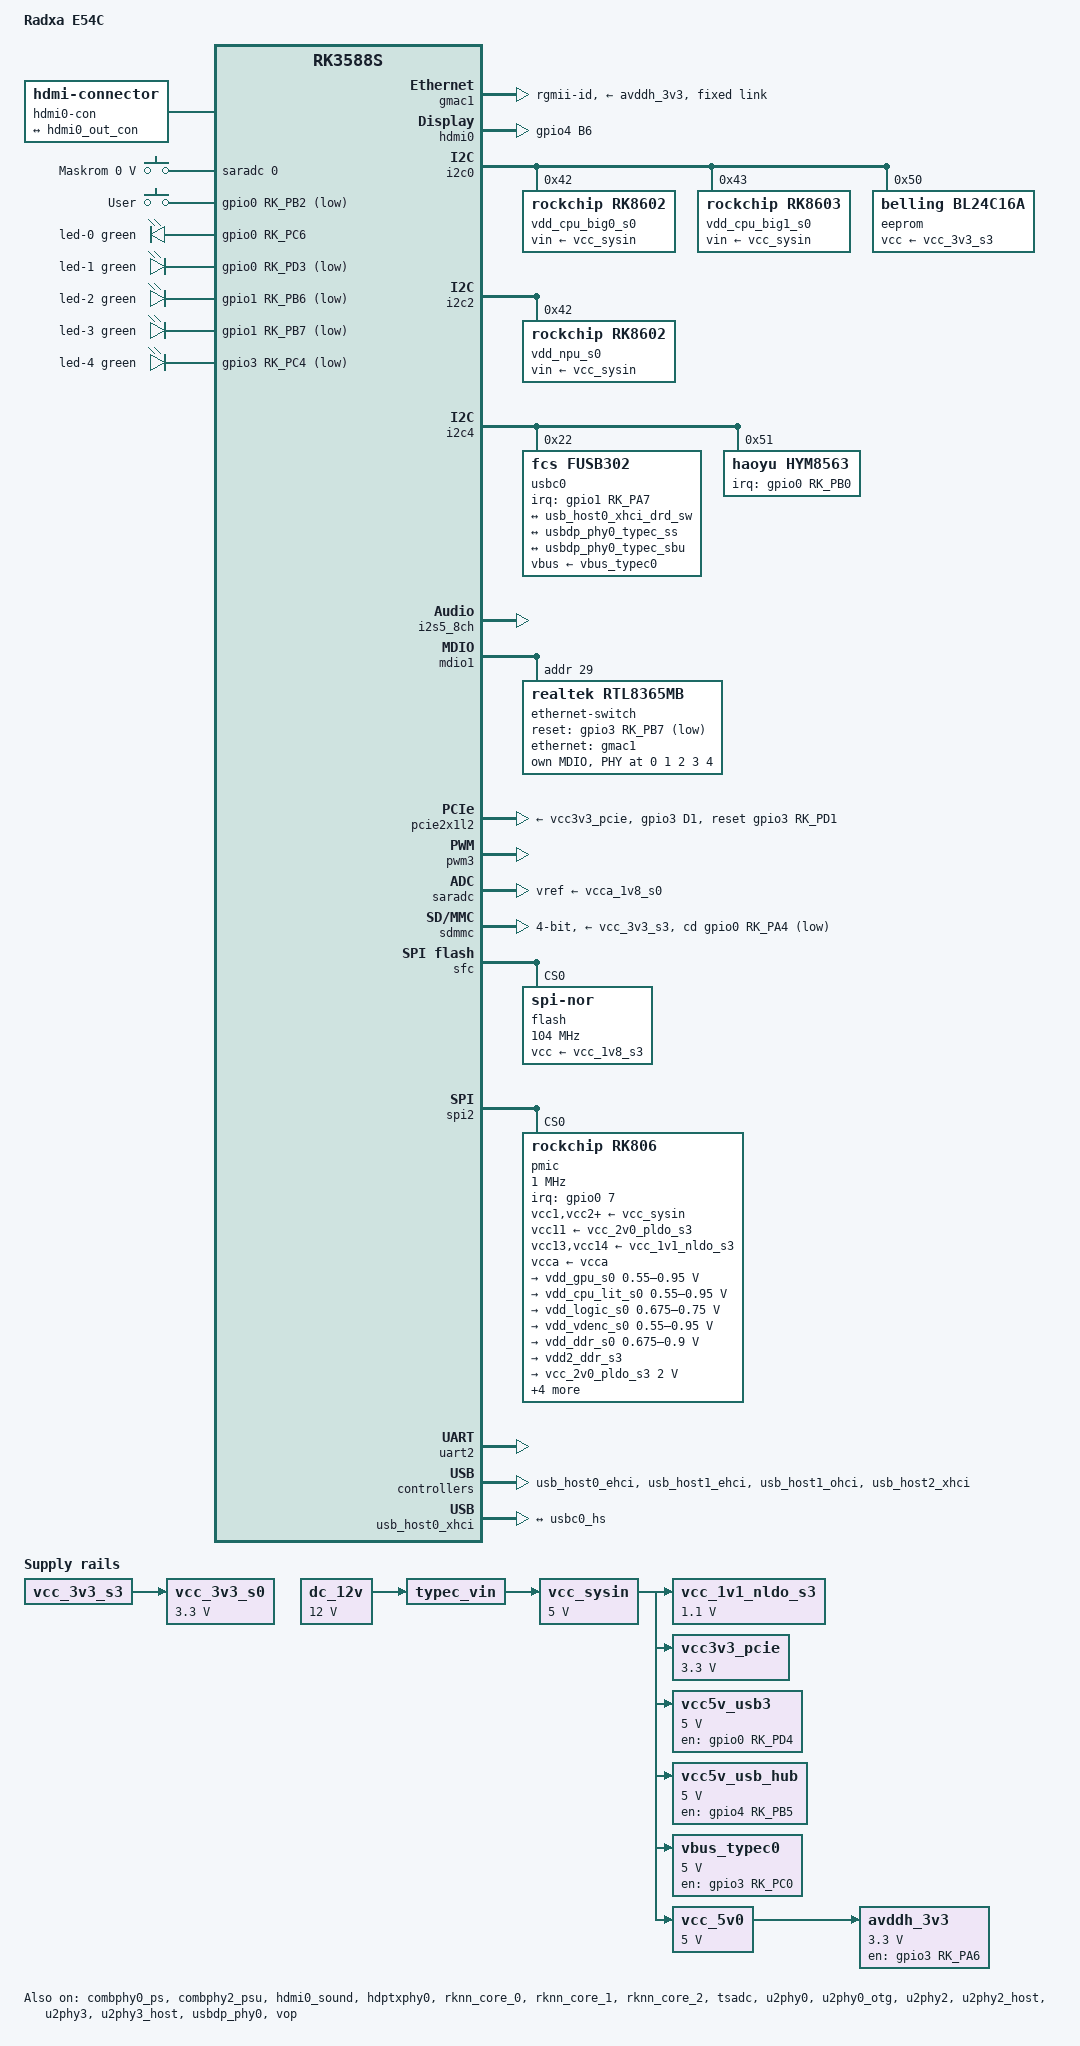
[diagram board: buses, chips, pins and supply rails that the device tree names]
// SPDX-License-Identifier: (GPL-2.0+ OR MIT)

/dts-v1/;

#include <dt-bindings/gpio/gpio.h>
#include <dt-bindings/input/input.h>
#include <dt-bindings/leds/common.h>
#include <dt-bindings/pinctrl/rockchip.h>
#include <dt-bindings/soc/rockchip,vop2.h>
#include <dt-bindings/usb/pd.h>
#include "rk3588s.dtsi"

/ {
	model = "Radxa E54C";
	compatible = "radxa,e54c", "rockchip,rk3582", "rockchip,rk3588s";

	aliases {
		ethernet0 = &gmac1;
		mmc0 = &sdhci;
		mmc1 = &sdmmc;
	};

	chosen {
		stdout-path = "serial2:1500000n8";
	};

	hdmi0-con {
		compatible = "hdmi-connector";
		type = "a";

		port {
			hdmi0_con_in: endpoint {
				remote-endpoint = <&hdmi0_out_con>;
			};
		};
	};

	keys-0 {
		compatible = "adc-keys";
		io-channels = <&saradc 0>;
		io-channel-names = "buttons";
		keyup-threshold-microvolt = <1800000>;
		poll-interval = <100>;

		button-0 {
			label = "Maskrom";
			linux,code = <KEY_VENDOR>;
			press-threshold-microvolt = <0>;
		};
	};

	keys-1 {
		compatible = "gpio-keys";
		pinctrl-names = "default";
		pinctrl-0 = <&user_key>;

		button-1 {
			label = "User";
			linux,code = <BTN_0>;
			gpios = <&gpio0 RK_PB2 GPIO_ACTIVE_LOW>;
			wakeup-source;
		};
	};

	leds {
		compatible = "gpio-leds";

		led-0 {
			color = <LED_COLOR_ID_GREEN>;
			function = LED_FUNCTION_STATUS;
			gpios = <&gpio0 RK_PC6 GPIO_ACTIVE_HIGH>;
			linux,default-trigger = "heartbeat";
			pinctrl-names = "default";
			pinctrl-0 = <&sys_led>;
		};

		led-1 {
			color = <LED_COLOR_ID_GREEN>;
			function = LED_FUNCTION_LAN;
			function-enumerator = <1>;
			gpios = <&gpio0 RK_PD3 GPIO_ACTIVE_LOW>;
			linux,default-trigger = "netdev";
			pinctrl-names = "default";
			pinctrl-0 = <&lan1_led>;
		};

		led-2 {
			color = <LED_COLOR_ID_GREEN>;
			function = LED_FUNCTION_LAN;
			function-enumerator = <2>;
			gpios = <&gpio1 RK_PB6 GPIO_ACTIVE_LOW>;
			linux,default-trigger = "netdev";
			pinctrl-names = "default";
			pinctrl-0 = <&lan2_led>;
		};

		led-3 {
			color = <LED_COLOR_ID_GREEN>;
			function = LED_FUNCTION_LAN;
			function-enumerator = <3>;
			gpios = <&gpio1 RK_PB7 GPIO_ACTIVE_LOW>;
			linux,default-trigger = "netdev";
			pinctrl-names = "default";
			pinctrl-0 = <&lan3_led>;
		};

		led-4 {
			color = <LED_COLOR_ID_GREEN>;
			function = LED_FUNCTION_WAN;
			gpios = <&gpio3 RK_PC4 GPIO_ACTIVE_LOW>;
			linux,default-trigger = "netdev";
			pinctrl-names = "default";
			pinctrl-0 = <&wan_led>;
		};
	};

	dc_12v: regulator-12v-dc {
		compatible = "regulator-fixed";
		regulator-name = "dc_12v";
		regulator-always-on;
		regulator-boot-on;
		regulator-min-microvolt = <12000000>;
		regulator-max-microvolt = <12000000>;
	};

	vcc_1v1_nldo_s3: regulator-1v1-vcc-nldo-s3 {
		compatible = "regulator-fixed";
		regulator-name = "vcc_1v1_nldo_s3";
		regulator-always-on;
		regulator-boot-on;
		regulator-min-microvolt = <1100000>;
		regulator-max-microvolt = <1100000>;
		vin-supply = <&vcc_sysin>;
	};

	vcc3v3_pcie: regulator-3v3-pcie {
		compatible = "regulator-fixed";
		regulator-name = "vcc3v3_pcie";
		regulator-always-on;
		regulator-boot-on;
		regulator-min-microvolt = <3300000>;
		regulator-max-microvolt = <3300000>;
		vin-supply = <&vcc_sysin>;
	};

	vcc_3v3_s0: regulator-3v3-vcc-s0 {
		compatible = "regulator-fixed";
		regulator-name = "vcc_3v3_s0";
		regulator-always-on;
		regulator-boot-on;
		regulator-min-microvolt = <3300000>;
		regulator-max-microvolt = <3300000>;
		vin-supply = <&vcc_3v3_s3>;
	};

	vcc5v_usb3: regulator-5v0-usb3 {
		compatible = "regulator-fixed";
		enable-active-high;
		gpios = <&gpio0 RK_PD4 GPIO_ACTIVE_HIGH>;
		pinctrl-names = "default";
		pinctrl-0 = <&usb_otg_pwren_h>;
		regulator-name = "vcc5v_usb3";
		regulator-min-microvolt = <5000000>;
		regulator-max-microvolt = <5000000>;
		vin-supply = <&vcc_sysin>;
	};

	vcc5v_usb_hub: regulator-5v0-usb-hub {
		compatible = "regulator-fixed";
		enable-active-high;
		gpios = <&gpio4 RK_PB5 GPIO_ACTIVE_HIGH>;
		pinctrl-names = "default";
		pinctrl-0 = <&usb_host_pwren_h>;
		regulator-name = "vcc5v_usb_hub";
		regulator-min-microvolt = <5000000>;
		regulator-max-microvolt = <5000000>;
		vin-supply = <&vcc_sysin>;
	};

	vbus_typec0: regulator-5v0-vbus-typec0 {
		compatible = "regulator-fixed";
		enable-active-high;
		gpios = <&gpio3 RK_PC0 GPIO_ACTIVE_HIGH>;
		pinctrl-names = "default";
		pinctrl-0 = <&typec5v_pwren_h>;
		regulator-name = "vbus_typec0";
		regulator-min-microvolt = <5000000>;
		regulator-max-microvolt = <5000000>;
		vin-supply = <&vcc_sysin>;
	};

	vcc_sysin: vcca: regulator-5v0-vcc-sysin {
		compatible = "regulator-fixed";
		regulator-name = "vcc_sysin";
		regulator-always-on;
		regulator-boot-on;
		regulator-min-microvolt = <5000000>;
		regulator-max-microvolt = <5000000>;
		vin-supply = <&typec_vin>;
	};

	vcc_5v0: regulator-5v0-vcc {
		compatible = "regulator-fixed";
		regulator-name = "vcc_5v0";
		regulator-always-on;
		regulator-boot-on;
		regulator-min-microvolt = <5000000>;
		regulator-max-microvolt = <5000000>;
		vin-supply = <&vcc_sysin>;
	};

	avddh_3v3: regulator-avdd-3v3 {
		compatible = "regulator-fixed";
		enable-active-high;
		gpios = <&gpio3 RK_PA6 GPIO_ACTIVE_HIGH>;
		pinctrl-names = "default";
		pinctrl-0 = <&rtl8367_en>;
		regulator-name = "avddh_3v3";
		regulator-min-microvolt = <3300000>;
		regulator-max-microvolt = <3300000>;
		startup-delay-us = <10000>;
		vin-supply = <&vcc_5v0>;
	};

	typec_vin: regulator-typec-vin {
		compatible = "regulator-fixed";
		regulator-name = "typec_vin";
		regulator-always-on;
		regulator-boot-on;
		vin-supply = <&dc_12v>;
	};
};

&combphy0_ps {
	status = "okay";
};

&combphy2_psu {
	status = "okay";
};

/*
 * In the Rockchip RK3582 SoC, some CPU cores end up disabled
 * and unused because they're marked in the efuses as defective.
 * The disabling in the DT is performed by the boot loader.
 */
&cpu_b0 {
	cpu-supply = <&vdd_cpu_big0_s0>;
};

&cpu_b1 {
	cpu-supply = <&vdd_cpu_big0_s0>;
};

&cpu_b2 {
	cpu-supply = <&vdd_cpu_big1_s0>;
};

&cpu_b3 {
	cpu-supply = <&vdd_cpu_big1_s0>;
};

&cpu_l0 {
	cpu-supply = <&vdd_cpu_lit_s0>;
};

&cpu_l1 {
	cpu-supply = <&vdd_cpu_lit_s0>;
};

&cpu_l2 {
	cpu-supply = <&vdd_cpu_lit_s0>;
};

&cpu_l3 {
	cpu-supply = <&vdd_cpu_lit_s0>;
};

&gmac1 {
	clock_in_out = "output";
	phy-mode = "rgmii-id";
	phy-supply = <&avddh_3v3>;
	pinctrl-names = "default";
	pinctrl-0 = <&gmac1_miim
		     &gmac1_tx_bus2
		     &gmac1_rx_bus2
		     &gmac1_rgmii_clk
		     &gmac1_rgmii_bus>;
	/delete-property/ snps,tso;
	status = "okay";

	fixed-link {
		speed = <1000>;
		full-duplex;
	};
};

&hdmi0 {
	frl-enable-gpios = <&gpio4 RK_PB6 GPIO_ACTIVE_LOW>;
	pinctrl-names = "default";
	pinctrl-0 = <&hdmim0_tx0_cec
		     &hdmim1_tx0_hpd
		     &hdmim0_tx0_scl
		     &hdmim0_tx0_sda
		     &hdmi0_tx_on_h>;
	status = "okay";
};

&hdmi0_in {
	hdmi0_in_vp0: endpoint {
		remote-endpoint = <&vp0_out_hdmi0>;
	};
};

&hdmi0_out {
	hdmi0_out_con: endpoint {
		remote-endpoint = <&hdmi0_con_in>;
	};
};

&hdmi0_sound {
	status = "okay";
};

&hdptxphy0 {
	status = "okay";
};

&i2c0 {
	pinctrl-names = "default";
	pinctrl-0 = <&i2c0m2_xfer>;
	status = "okay";

	vdd_cpu_big0_s0: regulator@42 {
		compatible = "rockchip,rk8602";
		reg = <0x42>;
		fcs,suspend-voltage-selector = <1>;
		regulator-name = "vdd_cpu_big0_s0";
		regulator-always-on;
		regulator-boot-on;
		regulator-min-microvolt = <550000>;
		regulator-max-microvolt = <1050000>;
		regulator-ramp-delay = <2300>;
		vin-supply = <&vcc_sysin>;

		regulator-state-mem {
			regulator-off-in-suspend;
		};
	};

	vdd_cpu_big1_s0: regulator@43 {
		compatible = "rockchip,rk8603", "rockchip,rk8602";
		reg = <0x43>;
		fcs,suspend-voltage-selector = <1>;
		regulator-name = "vdd_cpu_big1_s0";
		regulator-always-on;
		regulator-boot-on;
		regulator-min-microvolt = <550000>;
		regulator-max-microvolt = <1050000>;
		regulator-ramp-delay = <2300>;
		vin-supply = <&vcc_sysin>;

		regulator-state-mem {
			regulator-off-in-suspend;
		};
	};

	eeprom@50 {
		compatible = "belling,bl24c16a", "atmel,24c16";
		reg = <0x50>;
		pagesize = <16>;
		read-only;
		vcc-supply = <&vcc_3v3_s3>;

		nvmem-layout {
			compatible = "fixed-layout";
			#address-cells = <1>;
			#size-cells = <1>;

			eth_mac0: macaddr@9e {
				reg = <0x9e 0x06>;
			};

			eth_mac1: macaddr@a4 {
				reg = <0xa4 0x06>;
			};

			eth_mac2: macaddr@aa {
				reg = <0xaa 0x06>;
			};

			eth_mac3: macaddr@b0 {
				reg = <0xb0 0x06>;
			};
		};
	};
};

&i2c2 {
	status = "okay";

	vdd_npu_s0: regulator@42 {
		compatible = "rockchip,rk8602";
		reg = <0x42>;
		fcs,suspend-voltage-selector = <1>;
		regulator-name = "vdd_npu_s0";
		regulator-min-microvolt = <550000>;
		regulator-max-microvolt = <950000>;
		regulator-ramp-delay = <2300>;
		vin-supply = <&vcc_sysin>;

		regulator-state-mem {
			regulator-off-in-suspend;
		};
	};
};

&i2c4 {
	pinctrl-names = "default";
	pinctrl-0 = <&i2c4m2_xfer>;
	status = "okay";

	usbc0: usb-typec@22 {
		compatible = "fcs,fusb302";
		reg = <0x22>;
		interrupt-parent = <&gpio1>;
		interrupts = <RK_PA7 IRQ_TYPE_LEVEL_LOW>;
		pinctrl-names = "default";
		pinctrl-0 = <&cc_int_l>;
		vbus-supply = <&vbus_typec0>;

		usb_con: connector {
			compatible = "usb-c-connector";
			label = "USB-C";
			data-role = "dual";
			op-sink-microwatt = <1000000>;
			power-role = "dual";
			pd-revision = /bits/ 8 <0x2 0x0 0x1 0x2>;
			sink-pdos = <PDO_FIXED(5000, 1000, PDO_FIXED_USB_COMM)>;
			source-pdos = <PDO_FIXED(5000, 3000, PDO_FIXED_USB_COMM)>;
			try-power-role = "sink";

			ports {
				#address-cells = <1>;
				#size-cells = <0>;

				port@0 {
					reg = <0>;
					usbc0_hs: endpoint {
						remote-endpoint = <&usb_host0_xhci_drd_sw>;
					};
				};

				port@1 {
					reg = <1>;
					usbc0_ss: endpoint {
						remote-endpoint = <&usbdp_phy0_typec_ss>;
					};
				};

				port@2 {
					reg = <2>;
					usbc0_sbu: endpoint {
						remote-endpoint = <&usbdp_phy0_typec_sbu>;
					};
				};
			};
		};
	};

	hym8563: rtc@51 {
		compatible = "haoyu,hym8563";
		reg = <0x51>;
		#clock-cells = <0>;
		clock-output-names = "rtcic_32kout";
		interrupt-parent = <&gpio0>;
		interrupts = <RK_PB0 IRQ_TYPE_LEVEL_LOW>;
		pinctrl-names = "default";
		pinctrl-0 = <&rtc_int_l>;
		wakeup-source;
	};
};

&i2s5_8ch {
	status = "okay";
};

&mdio1 {
	ethernet-switch@29 {
		compatible = "realtek,rtl8365mb";
		reg = <29>;
		pinctrl-names = "default";
		pinctrl-0 = <&gmac1_rstn_l>;
		reset-gpios = <&gpio3 RK_PB7 GPIO_ACTIVE_LOW>;

		switch_intc: interrupt-controller {
			interrupt-parent = <&gpio3>;
			interrupts = <RK_PB6 IRQ_TYPE_LEVEL_LOW>;
			interrupt-controller;
			#address-cells = <0>;
			#interrupt-cells = <1>;
		};

		mdio {
			#address-cells = <1>;
			#size-cells = <0>;

			phy0: ethernet-phy@0 {
				reg = <0>;
				interrupt-parent = <&switch_intc>;
				interrupts = <0>;
			};

			phy1: ethernet-phy@1 {
				reg = <1>;
				interrupt-parent = <&switch_intc>;
				interrupts = <1>;
			};

			phy2: ethernet-phy@2 {
				reg = <2>;
				interrupt-parent = <&switch_intc>;
				interrupts = <2>;
			};

			phy3: ethernet-phy@3 {
				reg = <3>;
				interrupt-parent = <&switch_intc>;
				interrupts = <3>;
			};

			phy4: ethernet-phy@4 {
				reg = <4>;
				interrupt-parent = <&switch_intc>;
				interrupts = <4>;
			};
		};

		ethernet-ports {
			#address-cells = <1>;
			#size-cells = <0>;

			ethernet-port@0 {
				reg = <0>;
				label = "lan3";
				nvmem-cells = <&eth_mac3>;
				nvmem-cell-names = "mac-address";
				phy-handle = <&phy0>;
			};

			ethernet-port@1 {
				reg = <1>;
				label = "lan2";
				nvmem-cells = <&eth_mac2>;
				nvmem-cell-names = "mac-address";
				phy-handle = <&phy1>;
			};

			ethernet-port@2 {
				reg = <2>;
				label = "lan1";
				nvmem-cells = <&eth_mac1>;
				nvmem-cell-names = "mac-address";
				phy-handle = <&phy2>;
			};

			ethernet-port@3 {
				reg = <3>;
				label = "wan";
				nvmem-cells = <&eth_mac0>;
				nvmem-cell-names = "mac-address";
				phy-handle = <&phy3>;
			};

			ethernet-port@6 {
				reg = <6>;
				ethernet = <&gmac1>;
				phy-mode = "rgmii";
				rx-internal-delay-ps = <2000>;
				tx-internal-delay-ps = <2000>;

				fixed-link {
					speed = <1000>;
					full-duplex;
				};
			};
		};
	};
};

&pcie2x1l2 {
	pinctrl-names = "default";
	pinctrl-0 = <&pcie20x1_2_perstn_m0>;
	reset-gpios = <&gpio3 RK_PD1 GPIO_ACTIVE_HIGH>;
	vpcie3v3-supply = <&vcc3v3_pcie>;
	status = "okay";
};

&pd_npu {
	domain-supply = <&vdd_npu_s0>;
};

&pinctrl {
	ethernet {
		gmac1_rstn_l: gmac1-rstn-l {
			rockchip,pins = <3 RK_PB7 RK_FUNC_GPIO &pcfg_pull_none>;
		};

		rtl8367_en: rtl8367-en {
			rockchip,pins = <3 RK_PA6 RK_FUNC_GPIO &pcfg_pull_none>;
		};
	};

	hdmi {
		hdmi0_tx_on_h: hdmi0-tx-on-h {
			rockchip,pins = <4 RK_PB6 RK_FUNC_GPIO &pcfg_pull_none>;
		};
	};

	keys {
		user_key: user-key {
			rockchip,pins = <0 RK_PB2 RK_FUNC_GPIO &pcfg_pull_up>;
		};
	};

	leds {
		lan1_led: lan1-led {
			rockchip,pins = <0 RK_PD3 RK_FUNC_GPIO &pcfg_pull_none>;
		};

		lan2_led: lan2-led {
			rockchip,pins = <1 RK_PB6 RK_FUNC_GPIO &pcfg_pull_none>;
		};

		lan3_led: lan3-led {
			rockchip,pins = <1 RK_PB7 RK_FUNC_GPIO &pcfg_pull_none>;
		};

		sys_led: sys-led {
			rockchip,pins = <0 RK_PC6 RK_FUNC_GPIO &pcfg_pull_none>;
		};

		wan_led: wan-led {
			rockchip,pins = <3 RK_PC4 RK_FUNC_GPIO &pcfg_pull_none>;
		};
	};

	pcie {
		pcie20x1_2_perstn_m0: pcie-perstn {
			rockchip,pins = <3 RK_PD1 RK_FUNC_GPIO &pcfg_pull_none>;
		};
	};

	rtc {
		rtc_int_l: rtc-int-l {
			rockchip,pins = <0 RK_PB0 RK_FUNC_GPIO &pcfg_pull_none>;
		};
	};

	typec {
		cc_int_l: cc-int-l {
			rockchip,pins = <1 RK_PA7 RK_FUNC_GPIO &pcfg_pull_up>;
		};

		typec5v_pwren_h: typec5v-pwren-h {
			rockchip,pins = <3 RK_PC0 RK_FUNC_GPIO &pcfg_pull_none>;
		};
	};

	usb {
		usb_host_pwren_h: usb-host-pwren-h {
			rockchip,pins = <4 RK_PB5 RK_FUNC_GPIO &pcfg_pull_none>;
		};

		usb_otg_pwren_h: usb-otg-pwren-h {
			rockchip,pins = <0 RK_PD4 RK_FUNC_GPIO &pcfg_pull_none>;
		};
	};
};

&pwm3 {
	pinctrl-names = "default";
	pinctrl-0 = <&pwm3m1_pins>;
	status = "okay";
};

&rknn_core_0 {
	npu-supply = <&vdd_npu_s0>;
	sram-supply = <&vdd_npu_s0>;
	status = "okay";
};

&rknn_core_1 {
	npu-supply = <&vdd_npu_s0>;
	sram-supply = <&vdd_npu_s0>;
	status = "okay";
};

&rknn_core_2 {
	npu-supply = <&vdd_npu_s0>;
	sram-supply = <&vdd_npu_s0>;
	status = "okay";
};

&rknn_mmu_0 {
	status = "okay";
};

&rknn_mmu_1 {
	status = "okay";
};

&rknn_mmu_2 {
	status = "okay";
};

&saradc {
	vref-supply = <&vcca_1v8_s0>;
	status = "okay";
};

/* Conflict with SFC */
&sdhci {
	bus-width = <8>;
	cap-mmc-highspeed;
	mmc-hs400-1_8v;
	mmc-hs400-enhanced-strobe;
	non-removable;
	vmmc-supply = <&vcc_3v3_s0>;
	vqmmc-supply = <&vcc_1v8_s3>;
	status = "disabled";
};

&sdmmc {
	bus-width = <4>;
	cap-mmc-highspeed;
	cap-sd-highspeed;
	cd-gpios = <&gpio0 RK_PA4 GPIO_ACTIVE_LOW>;
	disable-wp;
	sd-uhs-sdr104;
	vmmc-supply = <&vcc_3v3_s3>;
	vqmmc-supply = <&vccio_sd_s0>;
	status = "okay";
};

&sfc {
	pinctrl-names = "default";
	pinctrl-0 = <&fspim0_pins>;
	status = "okay";

	flash@0 {
		compatible = "jedec,spi-nor";
		reg = <0>;
		spi-max-frequency = <104000000>;
		spi-rx-bus-width = <4>;
		spi-tx-bus-width = <1>;
		vcc-supply = <&vcc_1v8_s3>;
	};
};

&spi2 {
	assigned-clocks = <&cru CLK_SPI2>;
	assigned-clock-rates = <200000000>;
	num-cs = <1>;
	pinctrl-names = "default";
	pinctrl-0 = <&spi2m2_cs0 &spi2m2_pins>;
	status = "okay";

	pmic@0 {
		compatible = "rockchip,rk806";
		reg = <0>;
		gpio-controller;
		#gpio-cells = <2>;
		interrupt-parent = <&gpio0>;
		interrupts = <7 IRQ_TYPE_LEVEL_LOW>;
		pinctrl-names = "default";
		pinctrl-0 = <&pmic_pins>, <&rk806_dvs1_null>,
			    <&rk806_dvs2_null>, <&rk806_dvs3_null>;
		spi-max-frequency = <1000000>;
		system-power-controller;

		vcc1-supply = <&vcc_sysin>;
		vcc2-supply = <&vcc_sysin>;
		vcc3-supply = <&vcc_sysin>;
		vcc4-supply = <&vcc_sysin>;
		vcc5-supply = <&vcc_sysin>;
		vcc6-supply = <&vcc_sysin>;
		vcc7-supply = <&vcc_sysin>;
		vcc8-supply = <&vcc_sysin>;
		vcc9-supply = <&vcc_sysin>;
		vcc10-supply = <&vcc_sysin>;
		vcc11-supply = <&vcc_2v0_pldo_s3>;
		vcc12-supply = <&vcc_sysin>;
		vcc13-supply = <&vcc_1v1_nldo_s3>;
		vcc14-supply = <&vcc_1v1_nldo_s3>;
		vcca-supply = <&vcca>;

		rk806_dvs1_null: dvs1-null-pins {
			pins = "gpio_pwrctrl1";
			function = "pin_fun0";
		};

		rk806_dvs2_null: dvs2-null-pins {
			pins = "gpio_pwrctrl2";
			function = "pin_fun0";
		};

		rk806_dvs3_null: dvs3-null-pins {
			pins = "gpio_pwrctrl3";
			function = "pin_fun0";
		};

		regulators {
			vdd_gpu_s0: dcdc-reg1 {
				regulator-name = "vdd_gpu_s0";
				regulator-boot-on;
				regulator-min-microvolt = <550000>;
				regulator-max-microvolt = <950000>;
				regulator-ramp-delay = <12500>;
				regulator-enable-ramp-delay = <400>;

				regulator-state-mem {
					regulator-off-in-suspend;
				};
			};

			vdd_cpu_lit_s0: dcdc-reg2 {
				regulator-name = "vdd_cpu_lit_s0";
				regulator-always-on;
				regulator-boot-on;
				regulator-min-microvolt = <550000>;
				regulator-max-microvolt = <950000>;
				regulator-ramp-delay = <12500>;

				regulator-state-mem {
					regulator-off-in-suspend;
				};
			};

			vdd_logic_s0: dcdc-reg3 {
				regulator-name = "vdd_logic_s0";
				regulator-always-on;
				regulator-boot-on;
				regulator-min-microvolt = <675000>;
				regulator-max-microvolt = <750000>;
				regulator-ramp-delay = <12500>;

				regulator-state-mem {
					regulator-on-in-suspend;
				};
			};

			vdd_vdenc_s0: dcdc-reg4 {
				regulator-name = "vdd_vdenc_s0";
				regulator-always-on;
				regulator-boot-on;
				regulator-min-microvolt = <550000>;
				regulator-max-microvolt = <950000>;
				regulator-ramp-delay = <12500>;

				regulator-state-mem {
					regulator-off-in-suspend;
				};
			};

			vdd_ddr_s0: dcdc-reg5 {
				regulator-name = "vdd_ddr_s0";
				regulator-always-on;
				regulator-boot-on;
				regulator-min-microvolt = <675000>;
				regulator-max-microvolt = <900000>;
				regulator-ramp-delay = <12500>;

				regulator-state-mem {
					regulator-off-in-suspend;
				};
			};

			vdd2_ddr_s3: dcdc-reg6 {
				regulator-name = "vdd2_ddr_s3";
				regulator-always-on;
				regulator-boot-on;

				regulator-state-mem {
					regulator-on-in-suspend;
				};
			};

			vcc_2v0_pldo_s3: dcdc-reg7 {
				regulator-name = "vcc_2v0_pldo_s3";
				regulator-always-on;
				regulator-boot-on;
				regulator-min-microvolt = <2000000>;
				regulator-max-microvolt = <2000000>;

				regulator-state-mem {
					regulator-on-in-suspend;
				};
			};

			vcc_3v3_s3: dcdc-reg8 {
				regulator-name = "vcc_3v3_s3";
				regulator-always-on;
				regulator-boot-on;
				regulator-min-microvolt = <3300000>;
				regulator-max-microvolt = <3300000>;

				regulator-state-mem {
					regulator-on-in-suspend;
				};
			};

			vddq_ddr_s0: dcdc-reg9 {
				regulator-name = "vddq_ddr_s0";
				regulator-always-on;
				regulator-boot-on;

				regulator-state-mem {
					regulator-off-in-suspend;
				};
			};

			vcc_1v8_s3: dcdc-reg10 {
				regulator-name = "vcc_1v8_s3";
				regulator-always-on;
				regulator-boot-on;
				regulator-min-microvolt = <1800000>;
				regulator-max-microvolt = <1800000>;

				regulator-state-mem {
					regulator-on-in-suspend;
				};
			};

			vcc_1v8_s0: pldo-reg1 {
				regulator-name = "vcc_1v8_s0";
				regulator-always-on;
				regulator-boot-on;
				regulator-min-microvolt = <1800000>;
				regulator-max-microvolt = <1800000>;

				regulator-state-mem {
					regulator-on-in-suspend;
				};
			};

			vcca_1v8_s0: pldo-reg2 {
				regulator-name = "vcca_1v8_s0";
				regulator-always-on;
				regulator-boot-on;
				regulator-min-microvolt = <1800000>;
				regulator-max-microvolt = <1800000>;

				regulator-state-mem {
					regulator-on-in-suspend;
				};
			};

			vdda_1v2_s0: pldo-reg3 {
				regulator-name = "vdda_1v2_s0";
				regulator-always-on;
				regulator-boot-on;
				regulator-min-microvolt = <1200000>;
				regulator-max-microvolt = <1200000>;

				regulator-state-mem {
					regulator-off-in-suspend;
				};
			};

			vcca_3v3_s0: pldo-reg4 {
				regulator-name = "vcca_3v3_s0";
				regulator-always-on;
				regulator-boot-on;
				regulator-min-microvolt = <3300000>;
				regulator-max-microvolt = <3300000>;

				regulator-state-mem {
					regulator-on-in-suspend;
				};
			};

			vccio_sd_s0: pldo-reg5 {
				regulator-name = "vccio_sd_s0";
				regulator-always-on;
				regulator-boot-on;
				regulator-min-microvolt = <1800000>;
				regulator-max-microvolt = <3300000>;

				regulator-state-mem {
					regulator-off-in-suspend;
				};
			};

			pldo6_s3: pldo-reg6 {
				regulator-name = "pldo6_s3";
				regulator-always-on;
				regulator-boot-on;
				regulator-min-microvolt = <1800000>;
				regulator-max-microvolt = <1800000>;

				regulator-state-mem {
					regulator-on-in-suspend;
				};
			};

			vdd_0v75_s3: nldo-reg1 {
				regulator-name = "vdd_0v75_s3";
				regulator-always-on;
				regulator-boot-on;
				regulator-min-microvolt = <750000>;
				regulator-max-microvolt = <750000>;

				regulator-state-mem {
					regulator-on-in-suspend;
				};
			};

			vdda_ddr_pll_s0: nldo-reg2 {
				regulator-name = "vdda_ddr_pll_s0";
				regulator-always-on;
				regulator-boot-on;
				regulator-min-microvolt = <850000>;
				regulator-max-microvolt = <850000>;

				regulator-state-mem {
					regulator-on-in-suspend;
				};
			};

			vdda_0v75_s0: nldo-reg3 {
				regulator-name = "vdda_0v75_s0";
				regulator-always-on;
				regulator-boot-on;
				regulator-min-microvolt = <750000>;
				regulator-max-microvolt = <750000>;

				regulator-state-mem {
					regulator-on-in-suspend;
				};
			};

			vdda_0v85_s0: nldo-reg4 {
				regulator-name = "vdda_0v85_s0";
				regulator-always-on;
				regulator-boot-on;
				regulator-min-microvolt = <850000>;
				regulator-max-microvolt = <850000>;

				regulator-state-mem {
					regulator-off-in-suspend;
				};
			};

			vdd_0v75_s0: nldo-reg5 {
				regulator-name = "vdd_0v75_s0";
				regulator-always-on;
				regulator-boot-on;
				regulator-min-microvolt = <750000>;
				regulator-max-microvolt = <750000>;

				regulator-state-mem {
					regulator-off-in-suspend;
				};
			};
		};
	};
};

&tsadc {
	status = "okay";
};

&u2phy0 {
	status = "okay";
};

&u2phy0_otg {
	status = "okay";
};

&u2phy2 {
	status = "okay";
};

&u2phy2_host {
	phy-supply = <&vcc5v_usb_hub>;
	status = "okay";
};

&u2phy3 {
	status = "okay";
};

&u2phy3_host {
	phy-supply = <&vcc5v_usb3>;
	status = "okay";
};

&uart2 {
	pinctrl-0 = <&uart2m0_xfer>;
	status = "okay";
};

&usbdp_phy0 {
	mode-switch;
	orientation-switch;
	sbu1-dc-gpios = <&gpio1 RK_PA6 GPIO_ACTIVE_HIGH>;
	sbu2-dc-gpios = <&gpio3 RK_PD5 GPIO_ACTIVE_HIGH>;
	status = "okay";

	port {
		#address-cells = <1>;
		#size-cells = <0>;

		usbdp_phy0_typec_ss: endpoint@0 {
			reg = <0>;
			remote-endpoint = <&usbc0_ss>;
		};

		usbdp_phy0_typec_sbu: endpoint@1 {
			reg = <1>;
			remote-endpoint = <&usbc0_sbu>;
		};
	};
};

&usb_host0_ehci {
	status = "okay";
};

&usb_host0_xhci {
	usb-role-switch;
	status = "okay";

	port {
		#address-cells = <1>;
		#size-cells = <0>;

		usb_host0_xhci_drd_sw: endpoint@0 {
			reg = <0>;
			remote-endpoint = <&usbc0_hs>;
		};
	};
};

&usb_host1_ehci {
	status = "okay";
};

&usb_host1_ohci {
	status = "okay";
};

&usb_host2_xhci {
	status = "okay";
};

&vop_mmu {
	status = "okay";
};

&vop {
	status = "okay";
};

&vp0 {
	vp0_out_hdmi0: endpoint@ROCKCHIP_VOP2_EP_HDMI0 {
		reg = <ROCKCHIP_VOP2_EP_HDMI0>;
		remote-endpoint = <&hdmi0_in_vp0>;
	};
};
